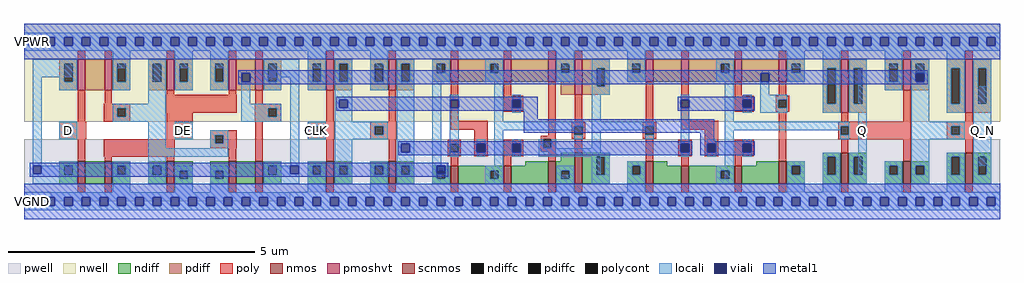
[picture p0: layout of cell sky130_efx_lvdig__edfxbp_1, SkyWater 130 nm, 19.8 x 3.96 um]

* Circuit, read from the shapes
.subckt sky130_efx_lvdig__edfxbp_1 CLK D DE Q Q_N VGND VPWR VPB VNB
XM1 n1 D n2 VNB sky130_fd_pr__nfet_01v8 w=0.45 l=0.15
XM2 VGND DE n1 VNB sky130_fd_pr__nfet_01v8 w=0.45 l=0.15
XM3 VGND DE n3 VNB sky130_fd_pr__nfet_01v8 w=0.45 l=0.15
XM4 n4 n3 VGND VNB sky130_fd_pr__nfet_01v8 w=0.45 l=0.15
XM5 n2 n5 n4 VNB sky130_fd_pr__nfet_01v8 w=0.45 l=0.15
XM6 n6 CLK VGND VNB sky130_fd_pr__nfet_01v8 w=0.45 l=0.15
XM7 n7 n6 VGND VNB sky130_fd_pr__nfet_01v8 w=0.45 l=0.15
XM8 n8 n6 n2 VNB sky130_fd_pr__nfet_01v8 w=0.36 l=0.15
XM9 n9 n7 n8 VNB sky130_fd_pr__nfet_01v8 w=0.36 l=0.15
XM10 VGND n10 n9 VNB sky130_fd_pr__nfet_01v8 w=0.45 l=0.15
XM11 n10 n8 VGND VNB sky130_fd_pr__nfet_01v8 w=0.63 l=0.15
XM12 n11 n10 VGND VNB sky130_fd_pr__nfet_01v8 w=0.45 l=0.15
XM13 n12 n7 n11 VNB sky130_fd_pr__nfet_01v8 w=0.36 l=0.15
XM14 n13 n6 n12 VNB sky130_fd_pr__nfet_01v8 w=0.36 l=0.15
XM15 VGND n5 n13 VNB sky130_fd_pr__nfet_01v8 w=0.45 l=0.15
XM16 Q n12 VGND VNB sky130_fd_pr__nfet_01v8 w=0.63 l=0.15
XM17 n5 n12 VGND VNB sky130_fd_pr__nfet_01v8 w=0.45 l=0.15
XM18 Q_N n5 VGND VNB sky130_fd_pr__nfet_01v8 w=0.63 l=0.15
XM19 n14 D n2 VPB sky130_fd_pr__pfet_01v8_hvt w=0.63 l=0.15
XM20 VPWR n3 n14 VPB sky130_fd_pr__pfet_01v8_hvt w=0.63 l=0.15
XM21 VPWR DE n3 VPB sky130_fd_pr__pfet_01v8_hvt w=0.63 l=0.15
XM22 n15 DE VPWR VPB sky130_fd_pr__pfet_01v8_hvt w=0.63 l=0.15
XM23 n2 n5 n15 VPB sky130_fd_pr__pfet_01v8_hvt w=0.63 l=0.15
XM24 n6 CLK VPWR VPB sky130_fd_pr__pfet_01v8_hvt w=0.63 l=0.15
XM25 n7 n6 VPWR VPB sky130_fd_pr__pfet_01v8_hvt w=0.63 l=0.15
XM26 n8 n7 n2 VPB sky130_fd_pr__pfet_01v8_hvt w=0.45 l=0.15
XM27 n16 n6 n8 VPB sky130_fd_pr__pfet_01v8_hvt w=0.45 l=0.15
XM28 VPWR n10 n16 VPB sky130_fd_pr__pfet_01v8_hvt w=0.45 l=0.15
XM29 n10 n8 VPWR VPB sky130_fd_pr__pfet_01v8_hvt w=0.72 l=0.15
XM30 n17 n10 VPWR VPB sky130_fd_pr__pfet_01v8_hvt w=0.45 l=0.15
XM31 n12 n6 n17 VPB sky130_fd_pr__pfet_01v8_hvt w=0.45 l=0.15
XM32 n18 n7 n12 VPB sky130_fd_pr__pfet_01v8_hvt w=0.45 l=0.15
XM33 VPWR n5 n18 VPB sky130_fd_pr__pfet_01v8_hvt w=0.45 l=0.15
XM34 Q n12 VPWR VPB sky130_fd_pr__pfet_01v8_hvt w=1.08 l=0.15
XM35 n5 n12 VPWR VPB sky130_fd_pr__pfet_01v8_hvt w=0.63 l=0.15
XM36 Q_N n5 VPWR VPB sky130_fd_pr__pfet_01v8_hvt w=1.08 l=0.15
.ends

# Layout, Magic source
magic
tech sky130A
magscale 1 2
<< nwell >>
rect 0 288 3960 684
<< pwell >>
rect 0 0 3960 216
<< poly >>
rect 219 288 249 414
rect 327 360 357 414
rect 579 396 609 414
rect 831 396 861 414
rect 324 341 432 360
rect 324 307 379 341
rect 413 307 432 341
rect 576 324 864 396
rect 939 360 969 414
rect 936 341 1044 360
rect 324 288 432 307
rect 144 269 252 288
rect 144 235 163 269
rect 197 235 252 269
rect 144 216 252 235
rect 579 269 684 324
rect 936 307 991 341
rect 1025 307 1044 341
rect 936 288 1044 307
rect 1731 291 1761 450
rect 1947 393 1977 450
rect 1947 377 2025 393
rect 1947 343 1981 377
rect 2015 343 2025 377
rect 1947 327 2025 343
rect 579 235 631 269
rect 665 235 684 269
rect 579 216 684 235
rect 756 233 864 252
rect 219 126 249 216
rect 324 144 612 216
rect 756 199 775 233
rect 809 199 864 233
rect 756 180 864 199
rect 327 126 357 144
rect 579 126 609 144
rect 831 126 861 180
rect 939 126 969 288
rect 1152 269 1260 288
rect 1152 235 1171 269
rect 1205 235 1260 269
rect 1152 216 1260 235
rect 1404 269 1512 288
rect 1404 235 1423 269
rect 1457 235 1512 269
rect 1731 255 1881 291
rect 1404 216 1512 235
rect 1719 197 1773 213
rect 1719 163 1729 197
rect 1763 163 1773 197
rect 1719 147 1773 163
rect 1827 197 1881 255
rect 2127 231 2157 450
rect 2235 285 2265 396
rect 2523 285 2553 450
rect 2667 291 2697 450
rect 2883 393 2913 450
rect 3063 393 3093 450
rect 2883 377 2961 393
rect 2883 343 2917 377
rect 2951 343 2961 377
rect 2883 327 2961 343
rect 3051 377 3105 393
rect 3051 343 3061 377
rect 3095 343 3105 377
rect 3051 327 3105 343
rect 2096 215 2157 231
rect 2223 269 2277 285
rect 2223 235 2233 269
rect 2267 235 2277 269
rect 2223 219 2277 235
rect 2511 269 2565 285
rect 2511 235 2521 269
rect 2555 235 2565 269
rect 2667 255 2817 291
rect 2511 219 2565 235
rect 1827 163 1837 197
rect 1871 163 1881 197
rect 1827 147 1881 163
rect 1947 197 2025 213
rect 1947 163 1981 197
rect 2015 163 2025 197
rect 2096 181 2106 215
rect 2140 181 2157 215
rect 2096 165 2157 181
rect 1947 147 2025 163
rect 1731 108 1761 147
rect 1947 108 1977 147
rect 2127 126 2157 165
rect 2235 162 2265 219
rect 2523 126 2553 219
rect 2655 197 2709 213
rect 2655 163 2665 197
rect 2699 163 2709 197
rect 2655 147 2709 163
rect 2763 197 2817 255
rect 2763 163 2773 197
rect 2807 163 2817 197
rect 2763 147 2817 163
rect 2883 197 2961 213
rect 2883 163 2917 197
rect 2951 163 2961 197
rect 2883 147 2961 163
rect 2667 108 2697 147
rect 2883 108 2913 147
rect 3063 126 3093 327
rect 3303 269 3597 288
rect 3303 235 3313 269
rect 3347 235 3597 269
rect 3303 216 3597 235
rect 3744 269 3852 288
rect 3744 235 3763 269
rect 3797 235 3852 269
rect 3744 216 3852 235
<< polycont >>
rect 379 307 413 341
rect 163 235 197 269
rect 991 307 1025 341
rect 1981 343 2015 377
rect 631 235 665 269
rect 775 199 809 233
rect 1171 235 1205 269
rect 1423 235 1457 269
rect 1729 163 1763 197
rect 2917 343 2951 377
rect 3061 343 3095 377
rect 2233 235 2267 269
rect 2521 235 2555 269
rect 1837 163 1871 197
rect 1981 163 2015 197
rect 2106 181 2140 215
rect 2665 163 2699 197
rect 2773 163 2807 197
rect 2917 163 2951 197
rect 3313 235 3347 269
rect 3763 235 3797 269
<< locali >>
rect 0 629 3960 648
rect 0 595 19 629
rect 53 595 91 629
rect 125 595 163 629
rect 197 595 235 629
rect 269 595 307 629
rect 341 595 379 629
rect 413 595 451 629
rect 485 595 523 629
rect 557 595 595 629
rect 629 595 667 629
rect 701 595 739 629
rect 773 595 811 629
rect 845 595 883 629
rect 917 595 955 629
rect 989 595 1027 629
rect 1061 595 1099 629
rect 1133 595 1171 629
rect 1205 595 1243 629
rect 1277 595 1315 629
rect 1349 595 1387 629
rect 1421 595 1459 629
rect 1493 595 1531 629
rect 1565 595 1603 629
rect 1637 595 1675 629
rect 1709 595 1747 629
rect 1781 595 1819 629
rect 1853 595 1891 629
rect 1925 595 1963 629
rect 1997 595 2035 629
rect 2069 595 2107 629
rect 2141 595 2179 629
rect 2213 595 2251 629
rect 2285 595 2323 629
rect 2357 595 2395 629
rect 2429 595 2467 629
rect 2501 595 2539 629
rect 2573 595 2611 629
rect 2645 595 2683 629
rect 2717 595 2755 629
rect 2789 595 2827 629
rect 2861 595 2899 629
rect 2933 595 2971 629
rect 3005 595 3043 629
rect 3077 595 3115 629
rect 3149 595 3187 629
rect 3221 595 3259 629
rect 3293 595 3331 629
rect 3365 595 3403 629
rect 3437 595 3475 629
rect 3509 595 3547 629
rect 3581 595 3619 629
rect 3653 595 3691 629
rect 3725 595 3763 629
rect 3797 595 3835 629
rect 3869 595 3907 629
rect 3941 595 3960 629
rect 0 576 3960 595
rect 36 468 216 540
rect 360 504 432 576
rect 36 109 72 468
rect 504 360 576 540
rect 612 504 684 576
rect 756 504 828 576
rect 360 341 576 360
rect 360 307 379 341
rect 413 307 576 341
rect 360 288 576 307
rect 882 450 883 484
rect 917 450 918 484
rect 972 468 1116 540
rect 1152 504 1224 576
rect 1404 504 1476 576
rect 882 360 918 450
rect 882 341 1044 360
rect 882 307 991 341
rect 1025 307 1044 341
rect 882 288 1044 307
rect 144 269 216 288
rect 144 235 163 269
rect 197 235 216 269
rect 144 216 216 235
rect 36 75 37 109
rect 71 108 72 109
rect 504 180 576 288
rect 612 269 684 288
rect 612 235 631 269
rect 665 235 684 269
rect 612 216 684 235
rect 756 233 828 252
rect 756 199 775 233
rect 809 199 828 233
rect 756 180 828 199
rect 504 144 828 180
rect 71 75 216 108
rect 36 36 216 75
rect 360 0 432 72
rect 504 36 576 144
rect 1080 109 1116 468
rect 1260 377 1332 432
rect 1260 343 1279 377
rect 1313 343 1332 377
rect 1260 288 1332 343
rect 1152 269 1224 288
rect 1152 235 1171 269
rect 1205 235 1224 269
rect 1152 216 1224 235
rect 1260 269 1476 288
rect 1260 235 1423 269
rect 1457 235 1476 269
rect 1260 216 1476 235
rect 1080 108 1081 109
rect 972 75 1081 108
rect 1115 75 1116 109
rect 1260 108 1332 216
rect 1512 197 1584 432
rect 1512 163 1531 197
rect 1565 163 1584 197
rect 1512 108 1584 163
rect 1656 109 1692 540
rect 1728 377 1764 396
rect 1728 343 1729 377
rect 1763 343 1764 377
rect 1728 197 1764 343
rect 1908 288 1944 540
rect 2160 504 2232 576
rect 1980 377 2016 396
rect 1980 343 1981 377
rect 2015 343 2016 377
rect 1980 324 2016 343
rect 2304 288 2340 540
rect 2448 504 2520 576
rect 2664 377 2700 396
rect 2664 343 2665 377
rect 2699 343 2700 377
rect 1908 269 2268 288
rect 1908 252 2233 269
rect 1728 163 1729 197
rect 1763 163 1764 197
rect 1728 144 1764 163
rect 1836 197 1872 216
rect 1836 163 1837 197
rect 1871 163 1872 197
rect 1836 144 1872 163
rect 612 0 684 72
rect 756 0 828 72
rect 972 36 1116 75
rect 1656 75 1675 109
rect 1152 0 1224 72
rect 1404 0 1476 72
rect 1656 36 1692 75
rect 1908 36 1944 252
rect 2232 235 2233 252
rect 2267 235 2268 269
rect 2232 216 2268 235
rect 2304 269 2556 288
rect 2304 252 2521 269
rect 1980 197 2016 216
rect 1980 163 1981 197
rect 2015 163 2016 197
rect 1980 144 2016 163
rect 2088 215 2160 216
rect 2088 181 2106 215
rect 2140 181 2160 215
rect 2088 180 2160 181
rect 2304 180 2340 252
rect 2520 235 2521 252
rect 2555 235 2556 269
rect 2520 216 2556 235
rect 2088 144 2340 180
rect 2664 197 2700 343
rect 2844 288 2880 540
rect 3096 504 3168 576
rect 3240 504 3312 576
rect 2988 450 2989 484
rect 3023 450 3024 484
rect 2988 396 3024 450
rect 2916 377 2952 396
rect 2916 343 2917 377
rect 2951 343 2952 377
rect 2916 324 2952 343
rect 2988 377 3096 396
rect 2988 343 3061 377
rect 3095 343 3096 377
rect 2988 324 3096 343
rect 2844 269 3348 288
rect 2844 252 3313 269
rect 2664 163 2665 197
rect 2699 163 2700 197
rect 2664 144 2700 163
rect 2772 197 2808 216
rect 2772 163 2773 197
rect 2807 163 2808 197
rect 2772 144 2808 163
rect 2160 0 2232 72
rect 2304 36 2340 144
rect 2448 0 2520 72
rect 2844 36 2880 252
rect 3312 235 3313 252
rect 3347 235 3348 269
rect 3312 216 3348 235
rect 2916 197 2952 216
rect 2916 163 2917 197
rect 2951 163 2952 197
rect 2916 144 2952 163
rect 3096 0 3168 72
rect 3240 0 3312 72
rect 3384 36 3420 540
rect 3492 504 3564 576
rect 3600 484 3672 540
rect 3744 504 3816 576
rect 3600 450 3619 484
rect 3653 450 3672 484
rect 3600 288 3672 450
rect 3600 269 3816 288
rect 3600 235 3763 269
rect 3797 235 3816 269
rect 3600 216 3816 235
rect 3600 108 3672 216
rect 3852 108 3924 432
rect 3492 0 3564 72
rect 3744 0 3816 72
rect 0 -19 3960 0
rect 0 -53 19 -19
rect 53 -53 91 -19
rect 125 -53 163 -19
rect 197 -53 235 -19
rect 269 -53 307 -19
rect 341 -53 379 -19
rect 413 -53 451 -19
rect 485 -53 523 -19
rect 557 -53 595 -19
rect 629 -53 667 -19
rect 701 -53 739 -19
rect 773 -53 811 -19
rect 845 -53 883 -19
rect 917 -53 955 -19
rect 989 -53 1027 -19
rect 1061 -53 1099 -19
rect 1133 -53 1171 -19
rect 1205 -53 1243 -19
rect 1277 -53 1315 -19
rect 1349 -53 1387 -19
rect 1421 -53 1459 -19
rect 1493 -53 1531 -19
rect 1565 -53 1603 -19
rect 1637 -53 1675 -19
rect 1709 -53 1747 -19
rect 1781 -53 1819 -19
rect 1853 -53 1891 -19
rect 1925 -53 1963 -19
rect 1997 -53 2035 -19
rect 2069 -53 2107 -19
rect 2141 -53 2179 -19
rect 2213 -53 2251 -19
rect 2285 -53 2323 -19
rect 2357 -53 2395 -19
rect 2429 -53 2467 -19
rect 2501 -53 2539 -19
rect 2573 -53 2611 -19
rect 2645 -53 2683 -19
rect 2717 -53 2755 -19
rect 2789 -53 2827 -19
rect 2861 -53 2899 -19
rect 2933 -53 2971 -19
rect 3005 -53 3043 -19
rect 3077 -53 3115 -19
rect 3149 -53 3187 -19
rect 3221 -53 3259 -19
rect 3293 -53 3331 -19
rect 3365 -53 3403 -19
rect 3437 -53 3475 -19
rect 3509 -53 3547 -19
rect 3581 -53 3619 -19
rect 3653 -53 3691 -19
rect 3725 -53 3763 -19
rect 3797 -53 3835 -19
rect 3869 -53 3907 -19
rect 3941 -53 3960 -19
rect 0 -72 3960 -53
<< viali >>
rect 19 595 53 629
rect 91 595 125 629
rect 163 595 197 629
rect 235 595 269 629
rect 307 595 341 629
rect 379 595 413 629
rect 451 595 485 629
rect 523 595 557 629
rect 595 595 629 629
rect 667 595 701 629
rect 739 595 773 629
rect 811 595 845 629
rect 883 595 917 629
rect 955 595 989 629
rect 1027 595 1061 629
rect 1099 595 1133 629
rect 1171 595 1205 629
rect 1243 595 1277 629
rect 1315 595 1349 629
rect 1387 595 1421 629
rect 1459 595 1493 629
rect 1531 595 1565 629
rect 1603 595 1637 629
rect 1675 595 1709 629
rect 1747 595 1781 629
rect 1819 595 1853 629
rect 1891 595 1925 629
rect 1963 595 1997 629
rect 2035 595 2069 629
rect 2107 595 2141 629
rect 2179 595 2213 629
rect 2251 595 2285 629
rect 2323 595 2357 629
rect 2395 595 2429 629
rect 2467 595 2501 629
rect 2539 595 2573 629
rect 2611 595 2645 629
rect 2683 595 2717 629
rect 2755 595 2789 629
rect 2827 595 2861 629
rect 2899 595 2933 629
rect 2971 595 3005 629
rect 3043 595 3077 629
rect 3115 595 3149 629
rect 3187 595 3221 629
rect 3259 595 3293 629
rect 3331 595 3365 629
rect 3403 595 3437 629
rect 3475 595 3509 629
rect 3547 595 3581 629
rect 3619 595 3653 629
rect 3691 595 3725 629
rect 3763 595 3797 629
rect 3835 595 3869 629
rect 3907 595 3941 629
rect 883 450 917 484
rect 37 75 71 109
rect 1279 343 1313 377
rect 1081 75 1115 109
rect 1531 163 1565 197
rect 1729 343 1763 377
rect 1981 343 2015 377
rect 2665 343 2699 377
rect 1837 163 1871 197
rect 1675 75 1709 109
rect 1981 163 2015 197
rect 2989 450 3023 484
rect 2917 343 2951 377
rect 2665 163 2699 197
rect 2773 163 2807 197
rect 2917 163 2951 197
rect 3619 450 3653 484
rect 19 -53 53 -19
rect 91 -53 125 -19
rect 163 -53 197 -19
rect 235 -53 269 -19
rect 307 -53 341 -19
rect 379 -53 413 -19
rect 451 -53 485 -19
rect 523 -53 557 -19
rect 595 -53 629 -19
rect 667 -53 701 -19
rect 739 -53 773 -19
rect 811 -53 845 -19
rect 883 -53 917 -19
rect 955 -53 989 -19
rect 1027 -53 1061 -19
rect 1099 -53 1133 -19
rect 1171 -53 1205 -19
rect 1243 -53 1277 -19
rect 1315 -53 1349 -19
rect 1387 -53 1421 -19
rect 1459 -53 1493 -19
rect 1531 -53 1565 -19
rect 1603 -53 1637 -19
rect 1675 -53 1709 -19
rect 1747 -53 1781 -19
rect 1819 -53 1853 -19
rect 1891 -53 1925 -19
rect 1963 -53 1997 -19
rect 2035 -53 2069 -19
rect 2107 -53 2141 -19
rect 2179 -53 2213 -19
rect 2251 -53 2285 -19
rect 2323 -53 2357 -19
rect 2395 -53 2429 -19
rect 2467 -53 2501 -19
rect 2539 -53 2573 -19
rect 2611 -53 2645 -19
rect 2683 -53 2717 -19
rect 2755 -53 2789 -19
rect 2827 -53 2861 -19
rect 2899 -53 2933 -19
rect 2971 -53 3005 -19
rect 3043 -53 3077 -19
rect 3115 -53 3149 -19
rect 3187 -53 3221 -19
rect 3259 -53 3293 -19
rect 3331 -53 3365 -19
rect 3403 -53 3437 -19
rect 3475 -53 3509 -19
rect 3547 -53 3581 -19
rect 3619 -53 3653 -19
rect 3691 -53 3725 -19
rect 3763 -53 3797 -19
rect 3835 -53 3869 -19
rect 3907 -53 3941 -19
<< metal1 >>
rect 0 629 3960 684
rect 0 595 19 629
rect 53 595 91 629
rect 125 595 163 629
rect 197 595 235 629
rect 269 595 307 629
rect 341 595 379 629
rect 413 595 451 629
rect 485 595 523 629
rect 557 595 595 629
rect 629 595 667 629
rect 701 595 739 629
rect 773 595 811 629
rect 845 595 883 629
rect 917 595 955 629
rect 989 595 1027 629
rect 1061 595 1099 629
rect 1133 595 1171 629
rect 1205 595 1243 629
rect 1277 595 1315 629
rect 1349 595 1387 629
rect 1421 595 1459 629
rect 1493 595 1531 629
rect 1565 595 1603 629
rect 1637 595 1675 629
rect 1709 595 1747 629
rect 1781 595 1819 629
rect 1853 595 1891 629
rect 1925 595 1963 629
rect 1997 595 2035 629
rect 2069 595 2107 629
rect 2141 595 2179 629
rect 2213 595 2251 629
rect 2285 595 2323 629
rect 2357 595 2395 629
rect 2429 595 2467 629
rect 2501 595 2539 629
rect 2573 595 2611 629
rect 2645 595 2683 629
rect 2717 595 2755 629
rect 2789 595 2827 629
rect 2861 595 2899 629
rect 2933 595 2971 629
rect 3005 595 3043 629
rect 3077 595 3115 629
rect 3149 595 3187 629
rect 3221 595 3259 629
rect 3293 595 3331 629
rect 3365 595 3403 629
rect 3437 595 3475 629
rect 3509 595 3547 629
rect 3581 595 3619 629
rect 3653 595 3691 629
rect 3725 595 3763 629
rect 3797 595 3835 629
rect 3869 595 3907 629
rect 3941 595 3960 629
rect 0 540 3960 595
rect 870 484 3666 495
rect 870 450 883 484
rect 917 450 2989 484
rect 3023 450 3619 484
rect 3653 450 3666 484
rect 870 439 3666 450
rect 1266 377 2084 388
rect 1266 343 1279 377
rect 1313 343 1729 377
rect 1763 343 1981 377
rect 2015 343 2084 377
rect 1266 332 2084 343
rect 2652 377 2964 388
rect 2652 343 2665 377
rect 2699 343 2917 377
rect 2951 343 2964 377
rect 2652 332 2964 343
rect 2028 298 2084 332
rect 2028 242 2800 298
rect 2744 208 2800 242
rect 1518 197 2712 208
rect 1518 163 1531 197
rect 1565 163 1837 197
rect 1871 163 1981 197
rect 2015 163 2665 197
rect 2699 163 2712 197
rect 1518 152 2712 163
rect 2744 197 2964 208
rect 2744 163 2773 197
rect 2807 163 2917 197
rect 2951 163 2964 197
rect 2744 152 2964 163
rect 24 109 1722 120
rect 24 75 37 109
rect 71 75 1081 109
rect 1115 75 1675 109
rect 1709 75 1722 109
rect 24 64 1722 75
rect 0 -19 3960 36
rect 0 -53 19 -19
rect 53 -53 91 -19
rect 125 -53 163 -19
rect 197 -53 235 -19
rect 269 -53 307 -19
rect 341 -53 379 -19
rect 413 -53 451 -19
rect 485 -53 523 -19
rect 557 -53 595 -19
rect 629 -53 667 -19
rect 701 -53 739 -19
rect 773 -53 811 -19
rect 845 -53 883 -19
rect 917 -53 955 -19
rect 989 -53 1027 -19
rect 1061 -53 1099 -19
rect 1133 -53 1171 -19
rect 1205 -53 1243 -19
rect 1277 -53 1315 -19
rect 1349 -53 1387 -19
rect 1421 -53 1459 -19
rect 1493 -53 1531 -19
rect 1565 -53 1603 -19
rect 1637 -53 1675 -19
rect 1709 -53 1747 -19
rect 1781 -53 1819 -19
rect 1853 -53 1891 -19
rect 1925 -53 1963 -19
rect 1997 -53 2035 -19
rect 2069 -53 2107 -19
rect 2141 -53 2179 -19
rect 2213 -53 2251 -19
rect 2285 -53 2323 -19
rect 2357 -53 2395 -19
rect 2429 -53 2467 -19
rect 2501 -53 2539 -19
rect 2573 -53 2611 -19
rect 2645 -53 2683 -19
rect 2717 -53 2755 -19
rect 2789 -53 2827 -19
rect 2861 -53 2899 -19
rect 2933 -53 2971 -19
rect 3005 -53 3043 -19
rect 3077 -53 3115 -19
rect 3149 -53 3187 -19
rect 3221 -53 3259 -19
rect 3293 -53 3331 -19
rect 3365 -53 3403 -19
rect 3437 -53 3475 -19
rect 3509 -53 3547 -19
rect 3581 -53 3619 -19
rect 3653 -53 3691 -19
rect 3725 -53 3763 -19
rect 3797 -53 3835 -19
rect 3869 -53 3907 -19
rect 3941 -53 3960 -19
rect 0 -108 3960 -53
use nmos_isl_edfx_m  nmos_isl_edfx_m_0
transform 1 0 0 0 1 0
box 1620 0 2412 216
use pmos_isl_edfx_m  pmos_isl_edfx_m_0
transform 1 0 0 0 1 0
box 1620 288 2412 684
use nmos_isl_edfx_s  nmos_isl_edfx_s_0
transform 1 0 0 0 1 0
box 2412 0 3204 216
use pmos_isl_edfx_s  pmos_isl_edfx_s_0
transform 1 0 0 0 1 0
box 2412 288 3204 684
use nmos_n2f5_f1_l150_fb_sp  nmos_n2f5_f1_l150_fb_sp_0
transform 1 0 540 0 1 36
box -72 -72 180 162
use nmos_n2f5_f1_l150_ff  nmos_n2f5_f1_l150_ff_0
transform 1 0 1188 0 1 36
box -72 -36 180 180
use nmos_n2f5_f1_l150_ff  nmos_n2f5_f1_l150_ff_1
transform 1 0 1440 0 1 36
box -72 -36 180 180
use nmos_n2f5_f1_l150_ff  nmos_n2f5_f1_l150_ff_2
transform 1 0 3528 0 1 36
box -72 -36 180 180
use nmos_n2f5_f2_l150_bnf_sp  nmos_n2f5_f2_l150_bnf_sp_0
transform 1 0 792 0 1 36
box -72 -72 288 162
use nmos_n2f5_f2_l150_fnf_sp  nmos_n2f5_f2_l150_fnf_sp_0
transform 1 0 180 0 1 36
box -72 -72 288 162
use nmos_n3f5_f1_l150  nmos_n3f5_f1_l150_0
transform 1 0 3276 0 1 36
box -72 -36 180 180
use nmos_n3f5_f1_l150  nmos_n3f5_f1_l150_1
transform 1 0 3780 0 1 36
box -72 -36 180 180
use pmos_n3f5_f1_l150_hvt_ff  pmos_n3f5_f1_l150_hvt_ff_0
transform 1 0 1188 0 1 414
box -72 -126 180 162
use pmos_n3f5_f1_l150_hvt_ff  pmos_n3f5_f1_l150_hvt_ff_1
transform 1 0 1440 0 1 414
box -72 -126 180 162
use pmos_n3f5_f1_l150_hvt_ff  pmos_n3f5_f1_l150_hvt_ff_2
transform 1 0 3528 0 1 414
box -72 -126 180 162
use pmos_n3f5_f1_l150_hvt_ff_sp  pmos_n3f5_f1_l150_hvt_ff_sp_0
transform 1 0 540 0 1 414
box -72 -72 180 198
use pmos_n3f5_f2_l150_hvt_fnf_sp  pmos_n3f5_f2_l150_hvt_fnf_sp_0
transform 1 0 180 0 1 414
box -72 -72 288 198
use pmos_n3f5_f2_l150_hvt_fnf_sp  pmos_n3f5_f2_l150_hvt_fnf_sp_1
transform 1 0 792 0 1 414
box -72 -72 288 198
use pmos_n6_f1_l150_hvt  pmos_n6_f1_l150_hvt_0
transform 1 0 3276 0 1 324
box -72 -36 180 252
use pmos_n6_f1_l150_hvt  pmos_n6_f1_l150_hvt_1
transform 1 0 3780 0 1 324
box -72 -36 180 252
<< labels >>
flabel locali 1152 216 1224 288 0 FreeSans 288 0 0 0 CLK
port 1 nsew signal input
flabel locali 144 216 216 288 0 FreeSans 288 0 0 0 D
port 2 nsew signal input
flabel locali 612 216 684 288 0 FreeSans 288 0 0 0 DE
port 3 nsew signal input
flabel locali 3384 216 3420 288 0 FreeSans 288 0 0 0 Q
port 4 nsew signal output
flabel locali 3852 216 3924 288 0 FreeSans 288 0 0 0 Q_N
port 5 nsew signal output
flabel metal1 0 -72 72 0 0 FreeSans 288 0 0 0 VGND
port 6 nsew ground bidirectional
flabel metal1 0 576 72 648 0 FreeSans 288 0 0 0 VPWR
port 7 nsew power bidirectional
flabel nwell 0 540 36 576 0 FreeSans 288 0 0 0 VPB
port 8 nsew power bidirectional
flabel pwell 0 0 36 36 0 FreeSans 288 0 0 0 VNB
port 9 nsew ground bidirectional
<< properties >>
string FIXED_BBOX 0 -36 3960 612
<< end >>

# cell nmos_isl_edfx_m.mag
magic
tech sky130A
magscale 1 2
<< pwell >>
rect 1620 0 2412 216
<< nmos >>
rect 2127 36 2157 126
rect 2235 36 2265 162
<< scnmos >>
rect 1731 36 1761 108
rect 1947 36 1977 108
<< ndiff >>
rect 2178 126 2235 162
rect 2034 108 2127 126
rect 1656 89 1731 108
rect 1656 55 1675 89
rect 1709 55 1731 89
rect 1656 36 1731 55
rect 1761 89 1947 108
rect 1761 55 1891 89
rect 1925 55 1947 89
rect 1761 36 1947 55
rect 1977 36 2127 108
rect 2157 89 2235 126
rect 2157 55 2179 89
rect 2213 55 2235 89
rect 2157 36 2235 55
rect 2265 144 2376 162
rect 2265 72 2323 144
rect 2357 72 2376 144
rect 2265 36 2376 72
<< ndiffc >>
rect 1675 55 1709 89
rect 1891 55 1925 89
rect 2179 55 2213 89
rect 2323 72 2357 144
<< poly >>
rect 2235 162 2265 198
rect 1731 108 1761 144
rect 1947 108 1977 144
rect 2127 126 2157 162
rect 1731 0 1761 36
rect 1947 0 1977 36
rect 2127 0 2157 36
rect 2235 0 2265 36
<< locali >>
rect 2304 144 2376 162
rect 1656 89 1728 108
rect 1656 55 1675 89
rect 1709 55 1728 89
rect 1656 36 1728 55
rect 1872 89 1944 108
rect 1872 55 1891 89
rect 1925 55 1944 89
rect 1872 36 1944 55
rect 2160 89 2232 108
rect 2160 55 2179 89
rect 2213 55 2232 89
rect 2160 36 2232 55
rect 2304 72 2323 144
rect 2357 72 2376 144
rect 2304 36 2376 72
<< end >>

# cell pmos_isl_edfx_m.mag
magic
tech sky130A
magscale 1 2
<< nwell >>
rect 1620 288 2412 684
<< pmoshvt >>
rect 1731 450 1761 540
rect 1947 450 1977 540
rect 2127 450 2157 540
rect 2235 396 2265 540
<< pdiff >>
rect 1656 522 1731 540
rect 1656 486 1675 522
rect 1709 486 1731 522
rect 1656 450 1731 486
rect 1761 522 1947 540
rect 1761 486 1891 522
rect 1925 486 1947 522
rect 1761 450 1947 486
rect 1977 450 2127 540
rect 2157 522 2235 540
rect 2157 486 2179 522
rect 2213 486 2235 522
rect 2157 450 2235 486
rect 2178 396 2235 450
rect 2265 504 2376 540
rect 2265 432 2323 504
rect 2357 432 2376 504
rect 2265 396 2376 432
<< pdiffc >>
rect 1675 486 1709 522
rect 1891 486 1925 522
rect 2179 486 2213 522
rect 2323 432 2357 504
<< poly >>
rect 1731 540 1761 576
rect 1947 540 1977 576
rect 2127 540 2157 576
rect 2235 540 2265 576
rect 1731 414 1761 450
rect 1947 414 1977 450
rect 2127 414 2157 450
rect 2235 360 2265 396
<< locali >>
rect 1656 522 1728 540
rect 1656 486 1675 522
rect 1709 486 1728 522
rect 1656 450 1728 486
rect 1872 522 1944 540
rect 1872 486 1891 522
rect 1925 486 1944 522
rect 1872 450 1944 486
rect 2160 522 2232 540
rect 2160 486 2179 522
rect 2213 486 2232 522
rect 2160 450 2232 486
rect 2304 504 2376 540
rect 2304 432 2323 504
rect 2357 432 2376 504
rect 2304 396 2376 432
<< end >>

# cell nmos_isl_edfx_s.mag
magic
tech sky130A
magscale 1 2
<< pwell >>
rect 2412 0 3204 216
<< nmos >>
rect 2523 36 2553 126
rect 3063 36 3093 126
<< scnmos >>
rect 2667 36 2697 108
rect 2883 36 2913 108
<< ndiff >>
rect 2448 108 2523 126
rect 2448 72 2467 108
rect 2501 72 2523 108
rect 2448 36 2523 72
rect 2553 108 2610 126
rect 2970 108 3063 126
rect 2553 36 2667 108
rect 2697 89 2883 108
rect 2697 55 2827 89
rect 2861 55 2883 89
rect 2697 36 2883 55
rect 2913 36 3063 108
rect 3093 108 3168 126
rect 3093 72 3115 108
rect 3149 72 3168 108
rect 3093 36 3168 72
<< ndiffc >>
rect 2467 72 2501 108
rect 2827 55 2861 89
rect 3115 72 3149 108
<< poly >>
rect 2523 126 2553 162
rect 2667 108 2697 144
rect 2883 108 2913 144
rect 3063 126 3093 162
rect 2523 0 2553 36
rect 2667 0 2697 36
rect 2883 0 2913 36
rect 3063 0 3093 36
<< locali >>
rect 2448 108 2520 126
rect 3096 108 3168 126
rect 2448 72 2467 108
rect 2501 72 2520 108
rect 2448 36 2520 72
rect 2808 89 2880 108
rect 2808 55 2827 89
rect 2861 55 2880 89
rect 2808 36 2880 55
rect 3096 72 3115 108
rect 3149 72 3168 108
rect 3096 36 3168 72
<< end >>

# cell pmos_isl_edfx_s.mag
magic
tech sky130A
magscale 1 2
<< nwell >>
rect 2412 288 3204 684
<< pmoshvt >>
rect 2523 450 2553 540
rect 2667 450 2697 540
rect 2883 450 2913 540
rect 3063 450 3093 540
<< pdiff >>
rect 2448 522 2523 540
rect 2448 486 2467 522
rect 2501 486 2523 522
rect 2448 450 2523 486
rect 2553 450 2667 540
rect 2697 522 2883 540
rect 2697 486 2827 522
rect 2861 486 2883 522
rect 2697 450 2883 486
rect 2913 450 3063 540
rect 3093 522 3168 540
rect 3093 486 3115 522
rect 3149 486 3168 522
rect 3093 450 3168 486
<< pdiffc >>
rect 2467 486 2501 522
rect 2827 486 2861 522
rect 3115 486 3149 522
<< poly >>
rect 2523 540 2553 576
rect 2667 540 2697 576
rect 2883 540 2913 576
rect 3063 540 3093 576
rect 2523 414 2553 450
rect 2667 414 2697 450
rect 2883 414 2913 450
rect 3063 414 3093 450
<< locali >>
rect 2448 522 2520 540
rect 2448 486 2467 522
rect 2501 486 2520 522
rect 2448 450 2520 486
rect 2808 522 2880 540
rect 2808 486 2827 522
rect 2861 486 2880 522
rect 2808 450 2880 486
rect 3096 522 3168 540
rect 3096 486 3115 522
rect 3149 486 3168 522
rect 3096 450 3168 486
<< end >>

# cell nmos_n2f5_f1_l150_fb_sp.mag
magic
tech sky130A
magscale 1 2
<< pwell >>
rect -72 -72 180 162
<< nmos >>
rect 39 0 69 90
<< ndiff >>
rect -36 72 39 90
rect -36 36 -17 72
rect 17 36 39 72
rect -36 0 39 36
rect 69 53 144 90
rect 69 19 91 53
rect 125 19 144 53
rect 69 0 144 19
<< ndiffc >>
rect -17 36 17 72
rect 91 19 125 53
<< poly >>
rect 39 90 69 126
rect 39 -36 69 0
<< locali >>
rect -36 72 36 90
rect -36 36 -17 72
rect 17 36 36 72
rect -36 0 36 36
rect 72 53 144 72
rect 72 19 91 53
rect 125 19 144 53
rect 72 0 144 19
<< end >>

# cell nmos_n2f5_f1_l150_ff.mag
magic
tech sky130A
magscale 1 2
<< pwell >>
rect -72 -36 180 180
<< nmos >>
rect 39 0 69 90
<< ndiff >>
rect -36 72 39 90
rect -36 36 -17 72
rect 17 36 39 72
rect -36 0 39 36
rect 69 72 144 90
rect 69 36 91 72
rect 125 36 144 72
rect 69 0 144 36
<< ndiffc >>
rect -17 36 17 72
rect 91 36 125 72
<< poly >>
rect 39 90 69 180
rect 39 -36 69 0
<< locali >>
rect -36 72 36 90
rect -36 36 -17 72
rect 17 36 36 72
rect -36 0 36 36
rect 72 72 144 90
rect 72 36 91 72
rect 125 36 144 72
rect 72 0 144 36
<< end >>

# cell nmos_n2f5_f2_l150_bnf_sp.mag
magic
tech sky130A
magscale 1 2
<< pwell >>
rect -72 -72 288 162
<< nmos >>
rect 39 0 69 90
rect 147 0 177 90
<< ndiff >>
rect -36 53 39 90
rect -36 19 -17 53
rect 17 19 39 53
rect -36 0 39 19
rect 69 0 147 90
rect 177 72 252 90
rect 177 36 199 72
rect 233 36 252 72
rect 177 0 252 36
<< ndiffc >>
rect -17 19 17 53
rect 199 36 233 72
<< poly >>
rect 39 90 69 126
rect 147 90 177 126
rect 39 -36 69 0
rect 147 -36 177 0
<< locali >>
rect 180 72 252 90
rect -36 53 36 72
rect -36 19 -17 53
rect 17 19 36 53
rect -36 0 36 19
rect 180 36 199 72
rect 233 36 252 72
rect 180 0 252 36
<< end >>

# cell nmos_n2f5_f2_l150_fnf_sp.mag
magic
tech sky130A
magscale 1 2
<< pwell >>
rect -72 -72 288 162
<< nmos >>
rect 39 0 69 90
rect 147 0 177 90
<< ndiff >>
rect -36 72 39 90
rect -36 36 -17 72
rect 17 36 39 72
rect -36 0 39 36
rect 69 0 147 90
rect 177 72 252 90
rect 177 36 199 72
rect 233 36 252 72
rect 177 0 252 36
<< ndiffc >>
rect -17 36 17 72
rect 199 36 233 72
<< poly >>
rect 39 90 69 126
rect 147 90 177 126
rect 39 -36 69 0
rect 147 -36 177 0
<< locali >>
rect -36 72 36 90
rect -36 36 -17 72
rect 17 36 36 72
rect -36 0 36 36
rect 180 72 252 90
rect 180 36 199 72
rect 233 36 252 72
rect 180 0 252 36
<< end >>

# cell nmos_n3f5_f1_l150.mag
magic
tech sky130A
magscale 1 2
<< pwell >>
rect -72 -36 180 180
<< nmos >>
rect 39 0 69 126
<< ndiff >>
rect -36 108 39 126
rect -36 36 -17 108
rect 17 36 39 108
rect -36 0 39 36
rect 69 108 144 126
rect 69 36 91 108
rect 125 36 144 108
rect 69 0 144 36
<< ndiffc >>
rect -17 36 17 108
rect 91 36 125 108
<< poly >>
rect 39 126 69 180
rect 39 -36 69 0
<< locali >>
rect -36 108 36 126
rect -36 36 -17 108
rect 17 36 36 108
rect -36 0 36 36
rect 72 108 144 126
rect 72 36 91 108
rect 125 36 144 108
rect 72 0 144 36
<< labels >>
rlabel locali 0 18 0 18 0 S0
port 1 nsew
rlabel locali 108 18 108 18 0 D0
port 2 nsew
<< end >>

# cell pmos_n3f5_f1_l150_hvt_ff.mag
magic
tech sky130A
magscale 1 2
<< nwell >>
rect -72 -126 180 162
<< pmoshvt >>
rect 39 0 69 126
<< pdiff >>
rect -36 108 39 126
rect -36 36 -17 108
rect 17 36 39 108
rect -36 0 39 36
rect 69 108 144 126
rect 69 36 91 108
rect 125 36 144 108
rect 69 0 144 36
<< pdiffc >>
rect -17 36 17 108
rect 91 36 125 108
<< poly >>
rect 39 126 69 162
rect 39 -126 69 0
<< locali >>
rect -36 108 36 126
rect -36 36 -17 108
rect 17 36 36 108
rect -36 0 36 36
rect 72 108 144 126
rect 72 36 91 108
rect 125 36 144 108
rect 72 0 144 36
<< end >>

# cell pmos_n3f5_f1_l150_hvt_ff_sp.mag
magic
tech sky130A
magscale 1 2
<< nwell >>
rect -72 -72 180 198
<< pmoshvt >>
rect 39 0 69 126
<< pdiff >>
rect -36 108 39 126
rect -36 36 -17 108
rect 17 36 39 108
rect -36 0 39 36
rect 69 108 144 126
rect 69 36 91 108
rect 125 36 144 108
rect 69 0 144 36
<< pdiffc >>
rect -17 36 17 108
rect 91 36 125 108
<< poly >>
rect 39 126 69 162
rect 39 -36 69 0
<< locali >>
rect -36 108 36 126
rect -36 36 -17 108
rect 17 36 36 108
rect -36 0 36 36
rect 72 108 144 126
rect 72 36 91 108
rect 125 36 144 108
rect 72 0 144 36
<< end >>

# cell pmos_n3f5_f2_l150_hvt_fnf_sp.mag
magic
tech sky130A
magscale 1 2
<< nwell >>
rect -72 -72 288 198
<< pmoshvt >>
rect 39 0 69 126
rect 147 0 177 126
<< pdiff >>
rect -36 108 39 126
rect -36 36 -17 108
rect 17 36 39 108
rect -36 0 39 36
rect 69 0 147 126
rect 177 108 252 126
rect 177 36 199 108
rect 233 36 252 108
rect 177 0 252 36
<< pdiffc >>
rect -17 36 17 108
rect 199 36 233 108
<< poly >>
rect 39 126 69 162
rect 147 126 177 162
rect 39 -36 69 0
rect 147 -36 177 0
<< locali >>
rect -36 108 36 126
rect -36 36 -17 108
rect 17 36 36 108
rect -36 0 36 36
rect 180 108 252 126
rect 180 36 199 108
rect 233 36 252 108
rect 180 0 252 36
<< end >>

# cell pmos_n6_f1_l150_hvt: kit device pmos, n 6 fingers 1 length 0.15 butted 0 ltap 0 rtap 0 vt hvt tgate 0 bgate 0
